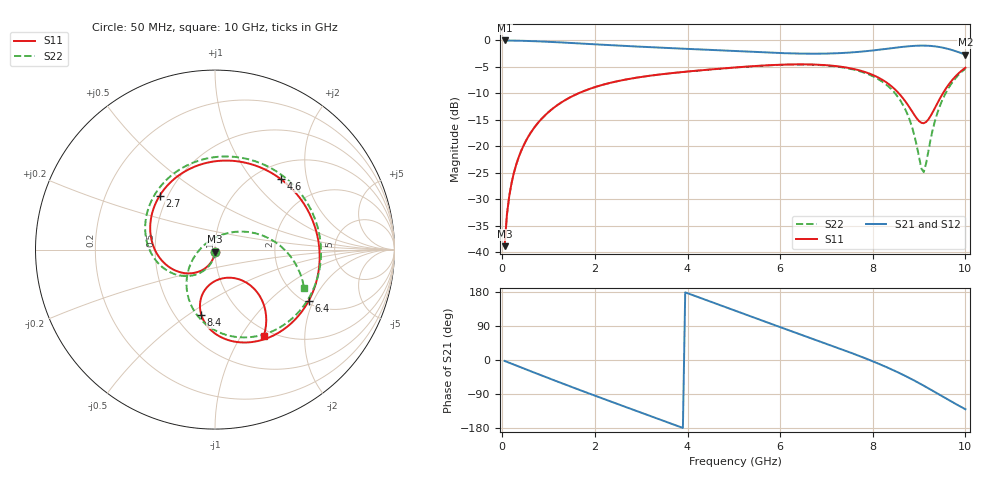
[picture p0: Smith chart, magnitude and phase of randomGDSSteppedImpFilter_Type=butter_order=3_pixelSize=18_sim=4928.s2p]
! freq	dB(S11)	phase(S11)	dB(S12)	phase(S12)
!  dB(S21)	phase(S21)	dB(S22)	phase(S22)
!S-par simulation data
#  GHz  S  DB  R 50
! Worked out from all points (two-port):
!   200 points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, 50 MHz to 10 GHz, reference 50 ohm
!   highest |S21| = -0.01 dB at 50 MHz (marker M1); lowest = -2.7 dB at 10 GHz (marker M2)
!   |S21| within 3 dB of the highest: start of sweep to end of sweep
!   lowest |S11| = -38.8 dB at 50 MHz (marker M3), VSWR 1.02, Z = 49.9 - j1.14 ohm
!   |S11| at or under -10 dB: start of sweep to 1.64 GHz; 8.564 GHz to 9.513 GHz (948.9 MHz wide, 10.5 % of centre)
!   |S22| runs from -38.8 to -4.5 dB; largest |S21 - S12| = 0
!   S11 on the Smith chart (normalised r, x): 50 MHz: 1.00, -0.02; 2.7 GHz: 0.45, +0.33; 4.6 GHz: 1.27, +1.41; 6.4 GHz: 2.09, -1.84; 8.4 GHz: 0.67, -0.56; 10 GHz: 0.91, -1.26
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0.05  -38.82 -92.1  -0.01 -2.5  -0.01 -2.5  -38.82 -91.8
0.1  -32.86 -95.0  -0.01 -4.9  -0.01 -4.9  -32.85 -94.4
0.2  -26.91 -100.5  -0.02 -9.7  -0.02 -9.7  -26.90 -99.4
0.5  -19.12 -116.1  -0.09 -24.2  -0.09 -24.2  -19.11 -113.3
1.15  -12.45 -148.9  -0.32 -55.0  -0.32 -55.0  -12.45 -142.5
1.75  -9.59 -178.5  -0.61 -82.7  -0.61 -82.7  -9.59 -168.5
2.2  -8.30 159.7  -0.83 -103.1  -0.83 -103.1  -8.29 172.4
2.7  -7.32 135.7  -1.06 -125.6  -1.06 -125.6  -7.32 151.5
3.4  -6.42 102.5  -1.36 -156.9  -1.36 -156.9  -6.43 122.1
4  -5.87 74.5  -1.60 176.2  -1.60 176.2  -5.88 96.5
4.6  -5.40 47.2  -1.84 149.3  -1.84 149.3  -5.42 70.3
5.05  -5.08 27.3  -2.02 129.1  -2.02 129.1  -5.10 50.2
5.7  -4.70 -0.3  -2.28 100.0  -2.28 100.0  -4.73 20.9
6.4  -4.51 -28.6  -2.48 69.2  -2.48 69.2  -4.55 -10.9
6.7  -4.54 -40.3  -2.50 56.0  -2.50 56.0  -4.59 -24.6
7.6  -5.41 -74.4  -2.23 15.8  -2.23 15.8  -5.53 -66.9
8.35  -8.27 -100.6  -1.53 -21.7  -1.53 -21.7  -8.78 -108.2
8.4  -8.62 -101.9  -1.47 -24.4  -1.47 -24.4  -9.20 -111.4
8.75  -12.07 -105.3  -1.12 -44.9  -1.12 -44.9  -13.94 -139.3
9.1  -15.62 -74.8  -0.98 -67.8  -0.98 -67.8  -24.84 117.1
9.45  -10.95 -45.2  -1.26 -92.2  -1.26 -92.2  -12.35 22.3
10  -5.16 -60.5  -2.69 -130.0  -2.69 -130.0  -5.34 -23.4
